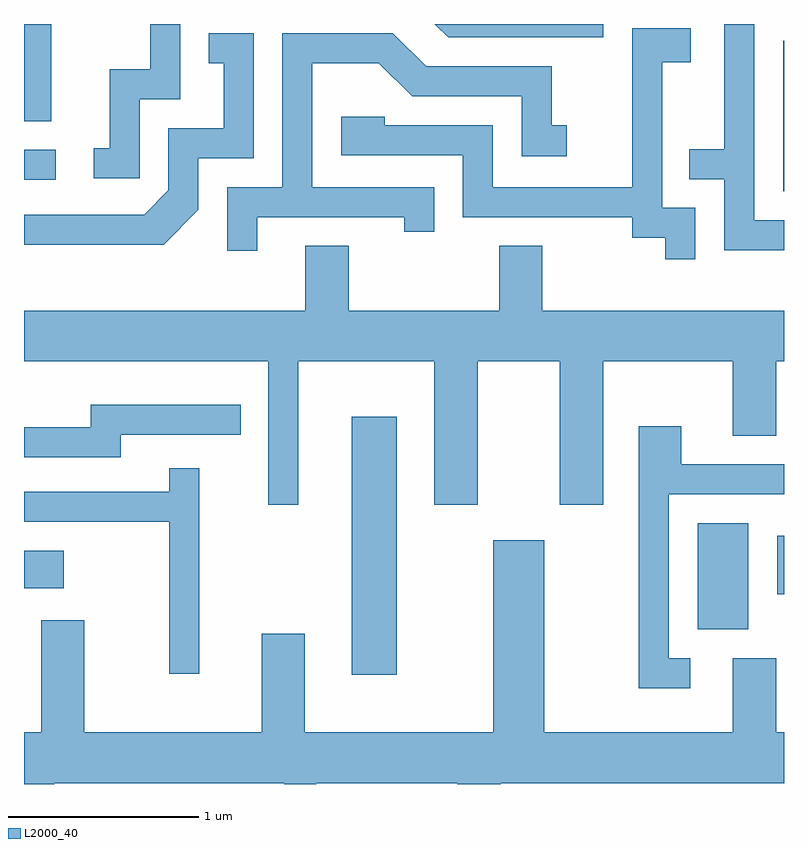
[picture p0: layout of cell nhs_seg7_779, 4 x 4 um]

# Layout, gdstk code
import gdstk
lib = gdstk.Library(unit=1e-6, precision=1e-09)
def R(c, l, rs):  # rectangles x0, y0, x1, y1
    for r in rs: c.add(gdstk.rectangle(r[:2], r[2:], *l))
def P(c, l, *ps):  # polygons
    for p in ps: c.add(gdstk.Polygon(p, *l))
L2000_40 = (2000, 40)

nhs_seg7_779 = lib.new_cell('nhs_seg7_779')
R(nhs_seg7_779, L2000_40, [(209.336,1774.826,209.574,1776.184), (211.156,1775.066,211.424,1775.624), (211.576,1775.251,211.611,1775.559), (207.611,1775.281,207.819,1775.479), (211.606,1777.371,211.611,1778.164), (207.611,1777.431,207.778,1777.589), (207.611,1777.741,207.754,1778.252)])
P(nhs_seg7_779, L2000_40, [(210.659,1778.252),(209.773,1778.252),(209.844,1778.181),(210.659,1778.181)],
  [(211.611,1777.219),(211.454,1777.219),(211.454,1778.252),(211.296,1778.252),(211.296,1777.594),(211.113,1777.594),(211.113,1777.436),(211.296,1777.436),(211.296,1777.061),(211.611,1777.061)],
  [(208.219,1777.856),(208.434,1777.856),(208.434,1778.252),(208.276,1778.252),(208.276,1778.014),(208.061,1778.014),(208.061,1777.599),(207.978,1777.599),(207.978,1777.441),(208.219,1777.441)],
  [(211.144,1777.284),(210.969,1777.284),(210.969,1778.051),(211.119,1778.051),(211.119,1778.229),(210.811,1778.229),(210.811,1777.394),(210.079,1777.394),(210.079,1777.719),(209.509,1777.719),(209.509,1777.764),(209.281,1777.764),(209.281,1777.561),(209.921,1777.561),(209.921,1777.236),(210.811,1777.236),(210.811,1777.126),(210.986,1777.126),(210.986,1777.013),(211.144,1777.013)],
  [(208.839,1777.236),(209.611,1777.236),(209.611,1777.158),(209.769,1777.158),(209.769,1777.394),(209.129,1777.394),(209.129,1778.046),(209.479,1778.046),(209.654,1777.871),(210.231,1777.871),(210.231,1777.556),(210.468,1777.556),(210.468,1777.719),(210.389,1777.719),(210.389,1778.029),(209.727,1778.029),(209.552,1778.204),(208.971,1778.204),(208.971,1777.394),(208.681,1777.394),(208.681,1777.058),(208.839,1777.058)],
  [(208.529,1777.274),(208.529,1777.546),(208.819,1777.546),(208.819,1778.204),(208.583,1778.204),(208.583,1778.046),(208.661,1778.046),(208.661,1777.704),(208.371,1777.704),(208.371,1777.377),(208.244,1777.249),(207.611,1777.249),(207.611,1777.091),(208.347,1777.091)],
  [(209.999,1776.476),(210.431,1776.476),(210.431,1775.721),(210.659,1775.721),(210.659,1776.476),(211.341,1776.476),(211.341,1776.086),(211.569,1776.086),(211.569,1776.476),(211.611,1776.476),(211.611,1776.744),(210.339,1776.744),(210.339,1777.084),(210.111,1777.084),(210.111,1776.744),(209.319,1776.744),(209.319,1777.084),(209.091,1777.084),(209.091,1776.744),(207.611,1776.744),(207.611,1776.476),(208.896,1776.476),(208.896,1775.723),(209.054,1775.723),(209.054,1776.476),(209.771,1776.476),(209.771,1775.721),(209.999,1775.721)],
  [(208.119,1776.091),(208.753,1776.091),(208.753,1776.249),(207.961,1776.249),(207.961,1776.129),(207.611,1776.129),(207.611,1775.971),(208.119,1775.971)],
  [(211.118,1774.914),(211.004,1774.914),(211.004,1775.776),(211.611,1775.776),(211.611,1775.934),(211.069,1775.934),(211.069,1776.134),(210.846,1776.134),(210.846,1774.756),(211.118,1774.756)],
  [(208.534,1775.913),(208.376,1775.913),(208.376,1775.789),(207.611,1775.789),(207.611,1775.631),(208.376,1775.631),(208.376,1774.833),(208.534,1774.833)],
  [(207.769,1774.256),(208.981,1774.256),(208.981,1774.252),(209.149,1774.252),(209.149,1774.256),(209.891,1774.256),(209.891,1774.252),(210.119,1774.252),(210.119,1774.256),(211.611,1774.256),(211.611,1774.524),(211.569,1774.524),(211.569,1774.914),(211.341,1774.914),(211.341,1774.524),(210.349,1774.524),(210.349,1775.534),(210.081,1775.534),(210.081,1774.524),(209.089,1774.524),(209.089,1775.044),(208.861,1775.044),(208.861,1774.524),(207.929,1774.524),(207.929,1775.114),(207.701,1775.114),(207.701,1774.524),(207.611,1774.524),(207.611,1774.252),(207.769,1774.252)])

lib.write_gds('nhs_seg7_779.gds')
